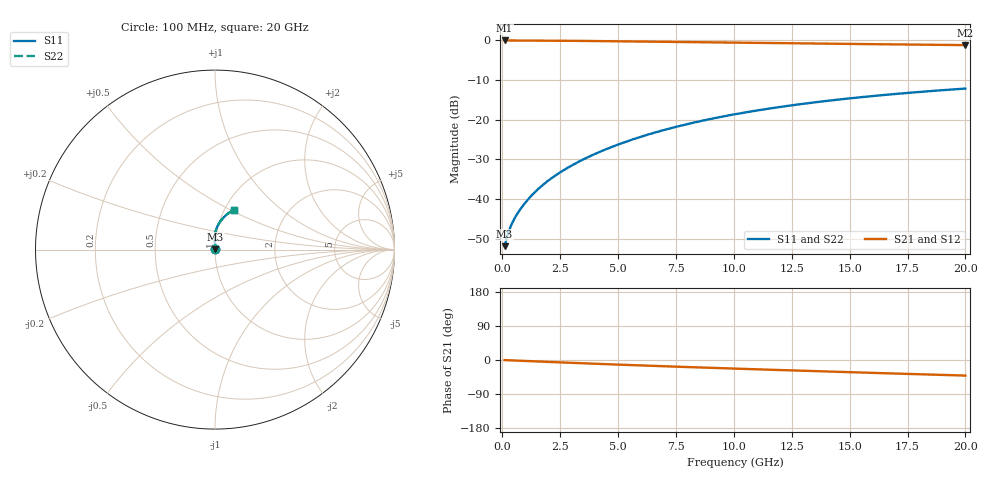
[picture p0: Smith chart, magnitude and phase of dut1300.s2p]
! Touchstone file exported from HFSS 2024.1.0
!  File:  C:/UserFiles/LocalFiles/RDL_TSV_Batchsim/temp_RDL_top_1300_1780364334.aedt
!  Generated:  09:41:38 AM Jun  2, 2026
!  Design:  RDL_top
!  Project:  temp_RDL_top_1300_1780364334
!  Setup:  Setup1
!  Solution:  Sweep
! Variables:
!  dtsv = 10.80580581um
!  hbump = 3um
!  htsv = 68.19um
!  ldown = 100um
!  lrdl = 694.89um
!  p = 40
!  p1 = 41.49um
!  rhole = 1um
!  t = 450um
!  tdown = 3.915915916um
!  trdl = 4.55um
!  wdown = 15.38538539um
!  wrdl = 27.02um
# GHz S MA R 50.000000
! Terminal data exported
! Port[1] = Box2_T1
! Port[2] = Box2_T2
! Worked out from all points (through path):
!   200 points, 100 MHz to 20 GHz, reference 50 ohm
!   highest |S21| = -0.02 dB at 100 MHz (marker M1); lowest = -1.2 dB at 20 GHz (marker M2)
!   group delay of S21, straight-line fit = 5.62 ps
!   lowest |S11| = -51.9 dB at 100 MHz (marker M3), VSWR 1.01, Z = 50.2 + j0.116 ohm
!   |S11| at or under -10 dB: start of sweep to end of sweep
!   |S22| runs from -51.9 to -12.2 dB; largest |S21 - S12| = 6.1e-15
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0.1  0.002544 27.1  0.9977 -0.3  0.9977 -0.3  0.002544 27.1
! Gamma 0 0 0 0
! Port Impedance 50 0 50 0
0.2  0.003303 41.3  0.9974 -0.5  0.9974 -0.5  0.003303 41.3
0.3  0.004076 48.7  0.9972 -0.8  0.9972 -0.8  0.004077 48.7
0.4  0.004799 53.7  0.9969 -1.1  0.9969 -1.1  0.0048 53.7
0.5  0.005494 57.7  0.9967 -1.3  0.9967 -1.3  0.005496 57.7
0.6  0.006184 61.2  0.9965 -1.6  0.9965 -1.6  0.006185 61.2
0.8  0.007589 66.9  0.9961 -2.1  0.9961 -2.1  0.007591 66.9
1.2  0.01057 74.9  0.9952 -3.1  0.9952 -3.1  0.01058 74.8
1.7  0.01461 81.1  0.9936 -4.3  0.9936 -4.3  0.01461 81.0
2.2  0.01894 85.1  0.9915 -5.6  0.9915 -5.6  0.01894 85.0
2.8  0.02453 88.3  0.9885 -7.0  0.9885 -7.0  0.02453 88.2
3.5  0.03159 90.6  0.9844 -8.7  0.9844 -8.7  0.03159 90.6
4.2  0.03922 92.0  0.9798 -10.4  0.9798 -10.4  0.03921 91.9
5  0.04858 92.6  0.974 -12.2  0.974 -12.2  0.04857 92.6
5.9  0.05983 92.5  0.9673 -14.2  0.9673 -14.2  0.05981 92.4
6.8  0.07168 91.7  0.9604 -16.1  0.9604 -16.1  0.07166 91.6
8.4  0.09376 89.3  0.9481 -19.4  0.9481 -19.4  0.09372 89.3
10.1  0.1179 86.0  0.9356 -22.8  0.9356 -22.8  0.1178 85.9
11.7  0.1406 82.5  0.9243 -26.0  0.9243 -26.0  0.1405 82.4
13.4  0.1642 78.6  0.9127 -29.2  0.9127 -29.2  0.1641 78.6
16.7  0.2076 71.2  0.8915 -35.2  0.8915 -35.2  0.2075 71.2
20  0.2469 64.2  0.8716 -41.1  0.8716 -41.1  0.2467 64.1
